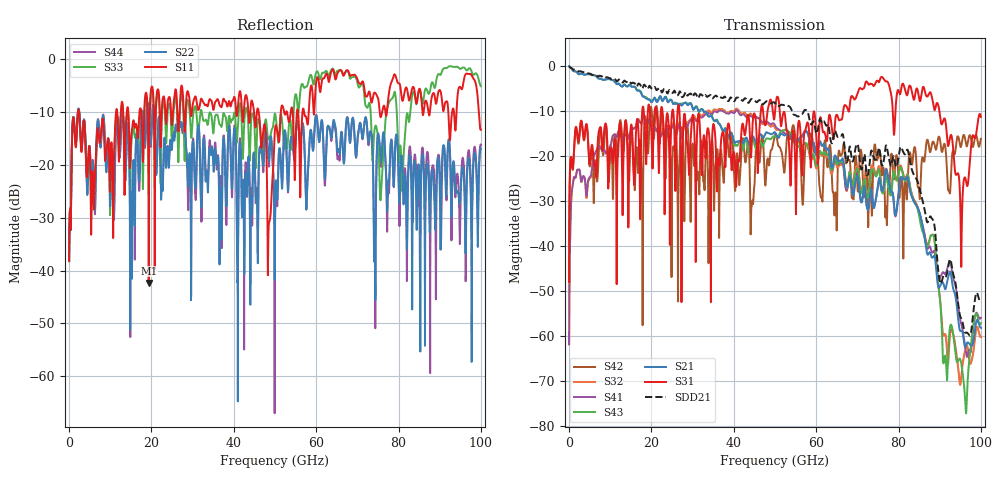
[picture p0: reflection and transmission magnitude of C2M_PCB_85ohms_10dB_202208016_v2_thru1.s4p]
! Info: Touchstone file created by Circ.  Input file=Intel_C2M_200G_1p5in_202208016_staggered.circ
# Hz S RI R 50
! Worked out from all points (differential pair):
!   10000 points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, 10 MHz to 100 GHz, reference 50 ohm
!   strongest paths, dB at 10 MHz, 25.01 GHz, 50.01 GHz, 75.01 GHz, 100 GHz:
!     S31: -48.1, -10.4, -10.3, -3.4, -11.4
!     S21: -0.1, -7.9, -14.8, -26.5, -58.3
!     S43: -0.1, -8.0, -15.7, -23.5, -57.2
!     S41: -61.9, -13.6, -13.2, -26.5, -56.0
!     S32: -61.9, -13.3, -13.8, -22.9, -60.3
!     S42: -48.1, -24.5, -15.3, -20.4, -16.3
!   taken as a pair (ports 1,3 in; 2,4 out), SDD21 dB: -0.1, -6.0, -8.4, -19.1, -52.4
!   lowest |S11| = -42.4 dB at 19.34 GHz (marker M1), VSWR 1.02, Z = 49.3 - j0.369 ohm
!   |S11| at or under -10 dB: 2.437 GHz to 11.41 GHz (8.975 GHz wide, 130 % of centre); 14.39 GHz to 17.09 GHz (2.706 GHz wide, 17.2 % of centre); 46.05 GHz to 51.42 GHz (5.373 GHz wide, 11 % of centre)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
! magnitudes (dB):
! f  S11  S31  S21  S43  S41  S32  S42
! 10 MHz  -38.2  -48.1  -0.1  -0.1  -61.9  -61.9  -48.1
! 1.61 GHz  -16.7  -13.7  -1.3  -1.3  -24.8  -24.8  -13.8
! 19.34 GHz  -42.4  -8.6  -7.5  -7.5  -11.9  -12.0  -17.0
! 48.62 GHz  -30.8  -8.3  -15.0  -16.2  -12.8  -13.2  -21.9
! 80.59 GHz  -6.1  -5.5  -24.7  -22.6  -24.9  -22.3  -25.1
! 91.39 GHz  -8.2  -12.3  -49.7  -64.6  -46.3  -59.8  -18.2
! 100 GHz  -13.4  -11.4  -58.3  -57.2  -56.0  -60.3  -16.3
